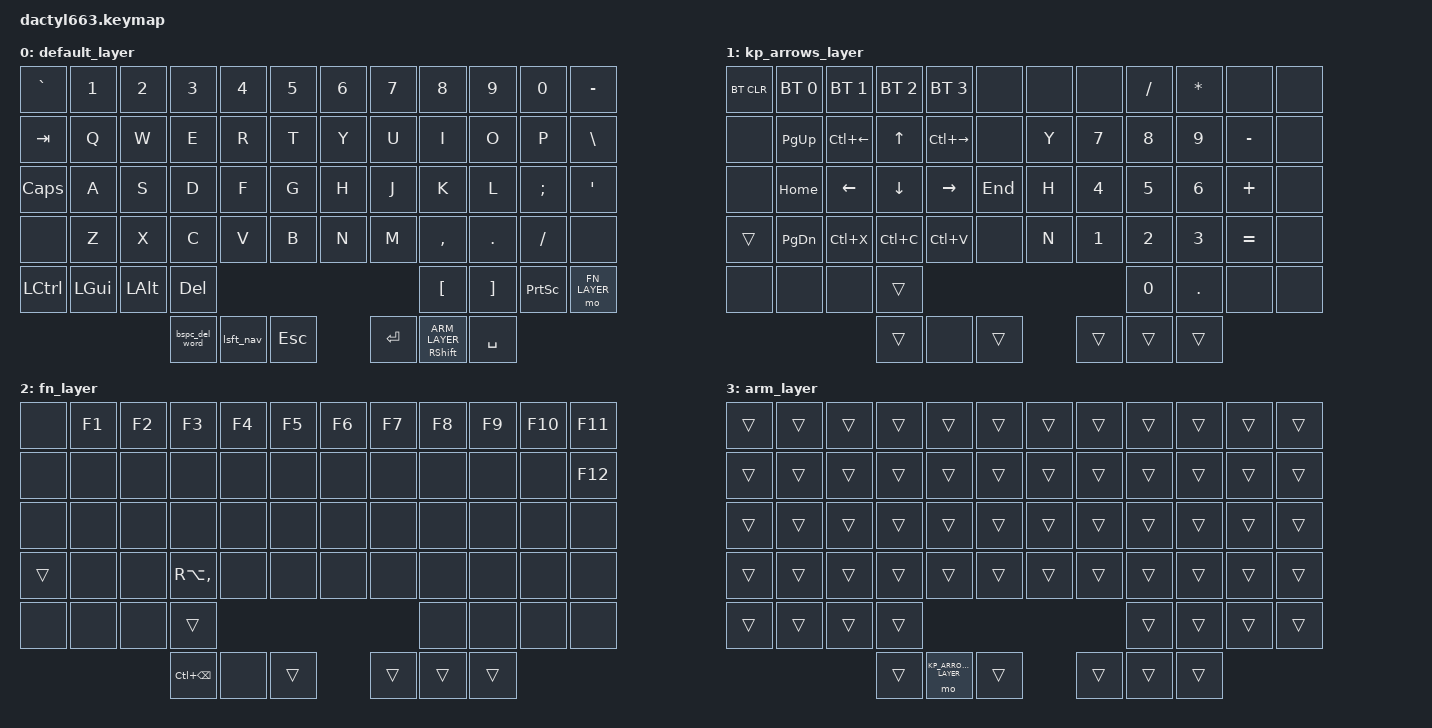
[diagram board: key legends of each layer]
#include <behaviors.dtsi>
#include <dt-bindings/zmk/keys.h>
#include <dt-bindings/zmk/bt.h>
#include <dt-bindings/zmk/outputs.h>

#define DEFAULT 0 
#define KP_ARROWS_LAYER 1 
#define FN_LAYER 2 
#define ARM_LAYER 3 

/ {
    behaviors {
        bspc_del_word: backspace_delete_word {
            compatible = "zmk,behavior-mod-morph";
            #binding-cells = <0>;
            bindings = <&kp BACKSPACE>, <&kp LC(BSPC)>;
            mods = <(MOD_RSFT)>;
        };

        // Hold = right shift. Tap = arm ARM_LAYER briefly so that a following
        // hold of the left thumb shift key activates the nav layer.
        rsft_arm: right_shift_arm {
            compatible = "zmk,behavior-hold-tap";
            #binding-cells = <2>;
            flavor = "hold-preferred";
            tapping-term-ms = <200>;
            bindings = <&kp>, <&sl_arm>;
        };

        // Sticky layer with a short window: the "fast-ish succession" timing.
        sl_arm: sticky_layer_arm {
            compatible = "zmk,behavior-sticky-key";
            #binding-cells = <1>;
            bindings = <&mo>;
            release-after-ms = <400>;
        };

        // Left shift normally; nav layer key while right shift is already held.
        lsft_nav: left_shift_nav {
            compatible = "zmk,behavior-mod-morph";
            #binding-cells = <0>;
            bindings = <&kp LSHIFT>, <&mo KP_ARROWS_LAYER>;
            mods = <(MOD_RSFT)>;
        };
    };
};

/ {
    keymap {
        compatible = "zmk,keymap";

        default_layer { // Layer 0
            bindings = <
                &kp GRAVE   &kp N1    &kp N2    &kp N3         &kp N4               &kp N5         &kp N6     &kp N7      &kp N8     &kp N9    &kp N0     &kp MINUS
                &kp TAB     &kp Q     &kp W     &kp E          &kp R                &kp T          &kp Y      &kp U       &kp I      &kp O     &kp P      &kp BSLH
                &kp CAPS    &kp A     &kp S     &kp D          &kp F                &kp G          &kp H      &kp J       &kp K      &kp L     &kp SEMI   &kp SQT
                &none       &kp Z     &kp X     &kp C          &kp V                &kp B          &kp N      &kp M       &kp COMMA  &kp DOT   &kp FSLH   &none
                &kp LCTRL   &kp LGUI  &kp LALT  &kp DELETE                                                                &kp LBKT   &kp RBKT  &kp PSCRN  &mo FN_LAYER
                                                &bspc_del_word &lsft_nav            &kp ESC        &kp ENTER  &rsft_arm RSHIFT ARM_LAYER &kp SPACE
            >;
        };

        kp_arrows_layer{ // layer for keypad on the right half of the keyboard, arrows to the left and the bluetooth and flashing commands
            bindings = <
                &bt BT_CLR  &bt BT_SEL 0  &bt BT_SEL 1  &bt BT_SEL 2  &bt BT_SEL 3   &none          &none  &none   &kp FSLH  &kp STAR  &none      &none
                &none       &kp PG_UP     &kp LC(LEFT)  &kp UP        &kp LC(RIGHT)  &none          &kp Y  &kp N7  &kp N8    &kp N9    &kp MINUS  &none
                &none       &kp HOME      &kp LEFT      &kp DOWN      &kp RIGHT      &kp END        &kp H  &kp N4  &kp N5    &kp N6    &kp PLUS   &none
                &trans      &kp PG_DN     &kp LC(X)     &kp LC(C)     &kp LC(V)      &none          &kp N  &kp N1  &kp N2    &kp N3    &kp EQUAL  &none
                &none       &none         &none         &trans                                                     &kp N0    &kp DOT   &none      &none
                                                        &trans        &none          &trans         &trans &trans  &trans
            >;
        };

        fn_layer{ // layer for arrow keys on the left half of the keyboard and function keys on the top
            bindings = <
                &none   &kp F1  &kp F2  &kp F3         &kp F4  &kp F5           &kp F6   &kp F7  &kp F8    &kp F9  &kp F10   &kp F11
                &none   &none   &none   &none          &none   &none            &none    &none   &none     &none   &none     &kp F12
                &none   &none   &none   &none          &none   &none            &none    &none   &none     &none   &none     &none
                &trans  &none   &none   &kp RA(COMMA)  &none   &none            &none    &none   &none     &none   &none     &none
                &none   &none   &none   &trans                                                   &none     &none   &none     &none
                                        &kp LC(BSPC)   &none   &trans           &trans   &trans  &trans
            >;

        };

        arm_layer { // Layer 3: briefly armed by tapping the right thumb shift; the left thumb shift then acts as nav layer key
            bindings = <
                &trans &trans &trans &trans &trans &trans &trans &trans &trans &trans &trans &trans
                &trans &trans &trans &trans &trans &trans &trans &trans &trans &trans &trans &trans
                &trans &trans &trans &trans &trans &trans &trans &trans &trans &trans &trans &trans
                &trans &trans &trans &trans &trans &trans &trans &trans &trans &trans &trans &trans
                &trans &trans &trans &trans &trans &trans &trans &trans
                &trans &mo KP_ARROWS_LAYER &trans &trans &trans &trans
            >;
        };
    };
};
